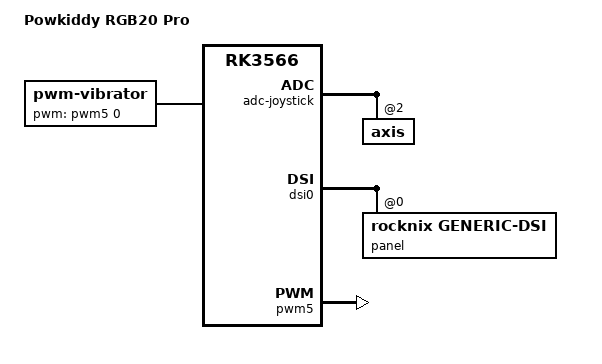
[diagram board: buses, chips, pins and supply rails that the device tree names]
// SPDX-License-Identifier: (GPL-2.0+ OR MIT)
/*
 * Copyright (c) 2024-present ROCKNIX (https://github.com/ROCKNIX)
 */

/dts-v1/;

#include "rk3566-powkiddy-rk2023.dts"

/ {
	compatible = "powkiddy,rgb20-pro", "rockchip,rk3566";
	model = "Powkiddy RGB20 Pro";

	/*
	 * Crash and console log kept in RAM across a warm reset (read back from /sys/fs/pstore).
	 * 256 MiB in sits clear of where U-Boot loads the kernel, device tree and initramfs
	 * (0x00280000 to about 0x0b000000) and of U-Boot's own copy at the top of RAM.
	 */
	reserved-memory {
		#address-cells = <2>;
		#size-cells = <2>;
		ranges;

		ramoops@10000000 {
			compatible = "ramoops";
			reg = <0x0 0x10000000 0x0 0x100000>;
			console-size = <0x80000>;
			record-size = <0x10000>;
		};
	};

	/*
	 * The left stick's vertical axis reads higher towards the bottom; the input convention (and
	 * games) want up to be negative.
	 */
	adc-joystick {
		axis@2 {
			abs-range = <800 250>;
		};
	};

	vibrator: pwm-vibrator {
		compatible = "pwm-vibrator";
		pwm-names = "enable";
		pwms = <&pwm5 0 1000000000 0>;
	};

};

&battery {
	charge-full-design-microamp-hours = <5000000>;
	factory-internal-resistance-micro-ohms = <110000>;
	voltage-max-design-microvolt = <4148000>;
	voltage-min-design-microvolt = <3500000>;

	ocv-capacity-table-0 =  <4148000 100>, <4076000 95>, <4056000 90>, <4041000 85>,
				<4030000 80>, <4015000 75>, <3993000 70>, <3964000 65>,
				<3929000 60>, <3889000 55>, <3864000 50>, <3846000 45>,
				<3827000 40>, <3806000 35>, <3780000 30>, <3740000 25>,
				<3687000 20>, <3636000 15>, <3592000 10>, <3548000 5>,
				<3500000 0>;
};

/* VPLL is left to follow the panel's pixel clock (dclk_vop1), so every mode gets its own rate. */
&cru {
	assigned-clocks = <&pmucru CLK_RTC_32K>, <&cru PLL_GPLL>, <&pmucru PLL_PPLL>;
	assigned-clock-rates = <32768>, <1200000000>, <200000000>;
};

/*
 * The panel's DSI link shows a clean picture only near a 51 MHz pixel clock: at 54.6 MHz its colours
 * shift, from about 59.8 MHz it fades into vertical bands. So 59.73 Hz (GBA), 59.94 Hz and 60.10 Hz
 * (NTSC consoles) run at 51.03, 51.09 and 51.16 MHz with longer or shorter blanking, as the 50 Hz
 * and 57.5 Hz modes do; ROCKNIX's versions of those three ran at 62.93, 59.84 and 54.6 MHz. The
 * 75.47, 90 and 120 Hz modes need faster clocks and don't show a clean picture.
 */
&dsi0 {
        panel: panel@0 {
		compatible = "rocknix,generic-dsi";
		panel_description =
			"G size=65,49 delays=200,150,36,36,20 format=rgb888 lanes=4 flags=0xe03",

			"M clock=51072 horizontal=1024,20,4,20 vertical=768,15,3,11 default=1",
			"M clock=51312 horizontal=1024,20,30,20 vertical=768,15,145,11",
			"M clock=51072 horizontal=1024,20,56,20 vertical=768,15,118,11",
			"M clock=52162 horizontal=1024,20,54,20 vertical=768,15,139,11",
			"M clock=51152 horizontal=1024,20,48,20 vertical=768,15,6,11",
			"M clock=51031 horizontal=1024,20,4,20 vertical=768,18,3,11",
			"M clock=51085 horizontal=1024,20,4,20 vertical=768,16,3,11",
			"M clock=51312 horizontal=1024,20,5,20 vertical=768,15,6,11",
			"M clock=51155 horizontal=1024,20,4,20 vertical=768,15,3,11",
			"M clock=65390 horizontal=1024,20,15,20 vertical=768,15,9,11",
			"M clock=77040 horizontal=1024,20,6,20 vertical=768,15,6,11",
			"M clock=102720 horizontal=1024,20,6,20 vertical=768,15,6,11",

			"I seq=df9168f9",
			"I seq=de00",
			"I seq=b2007e",
			"I seq=b3007e",
			"I seq=c1001000000000",
			"I seq=bb02240761194444",
			"I seq=be1af2",
			"I seq=c310175a175a0505050515153105df",
			"I seq=c4118000df090614",
			"I seq=ce0003030303030303030303030303030303030303030f03",
			"I seq=cf00014001ca01ca01ca",
			"I seq=d0001f1f1f1f1f1f1f1f1f1f03010507090b1e151f1f151f",
			"I seq=d1001f1f1f1f1f1f1f1f1f1f02000406080a1e151f1f151f",
			"I seq=d2001f1f1f1f1f1f1f1f1f1f00020a0806041f151f1f151e",
			"I seq=d3001f1f1f1f1f1f1f1f1f1f01030b0907051f151f1f151e",
			"I seq=d43000000400060000000000030300110001c0040101118001c00501010000000400061802e3",
			"I seq=d56873000808000300",
			"I seq=b700d80000d800",
			"I seq=c87f695a4e4a3b402a4443446351594c483a280f7f695a4e4a3b402a4443446351594c483a280f",
			"I seq=de02",
			"I seq=bb005b5c41",
			"I seq=b5005a0a",
			"I seq=c622",
			"I seq=d712",
			"I seq=de00",
			"I seq=3500",
			"I seq=11 wait=250",
			"I seq=29 wait=250";
        };
};

&pwm5 {
	status = "okay";
};
